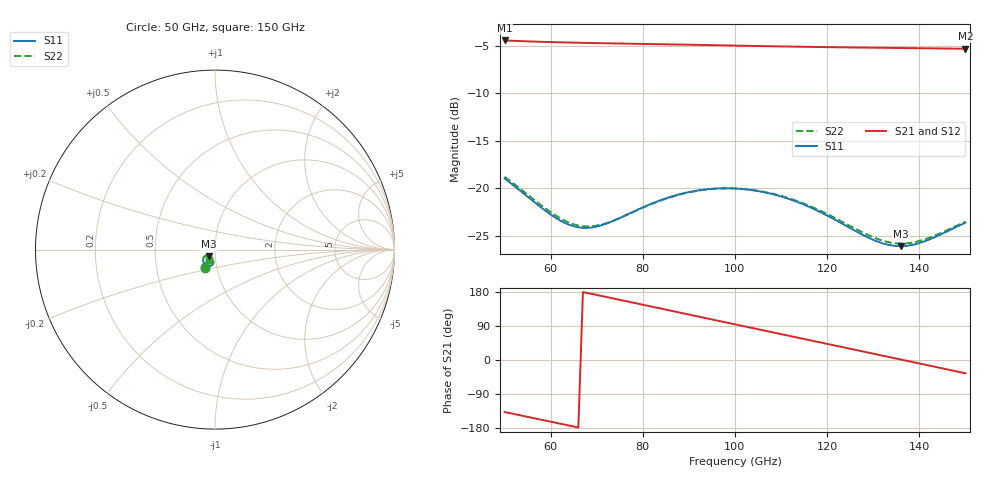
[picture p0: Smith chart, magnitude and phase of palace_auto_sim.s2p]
#  GHZ S DB R 50
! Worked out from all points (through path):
!   101 points, 50 GHz to 150 GHz, reference 50 ohm
!   highest |S21| = -4.41 dB at 50 GHz (marker M1); lowest = -5.3 dB at 150 GHz (marker M2)
!   group delay of S21, straight-line fit = 7.16 ps
!   lowest |S11| = -26.1 dB at 136 GHz (marker M3), VSWR 1.10, Z = 46.6 - j3.4 ohm
!   |S11| at or under -10 dB: start of sweep to end of sweep
!   |S22| runs from -25.8 to -18.8 dB; largest |S21 - S12| = 0
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50  -18.96 -119.1  -4.41 -137.3  -4.41 -137.3  -18.79 -119.5
55  -20.90 -122.1  -4.50 -150.1  -4.50 -150.1  -20.68 -122.8
59  -22.43 -120.7  -4.56 -160.3  -4.56 -160.3  -22.18 -121.9
63  -23.64 -115.5  -4.61 -170.5  -4.61 -170.5  -23.41 -117.2
67  -24.18 -107.7  -4.66 179.3  -4.66 179.3  -24.01 -109.9
71  -23.91 -100.6  -4.70 169.0  -4.70 169.0  -23.84 -102.9
75  -23.14 -96.8  -4.73 158.7  -4.73 158.7  -23.14 -98.9
79  -22.24 -96.4  -4.76 148.4  -4.76 148.4  -22.27 -98.2
84  -21.23 -99.7  -4.81 135.5  -4.81 135.5  -21.28 -101.1
92  -20.23 -109.7  -4.87 114.8  -4.87 114.8  -20.26 -110.6
96  -20.03 -115.7  -4.91 104.4  -4.91 104.4  -20.05 -116.5
100  -20.03 -121.9  -4.95 94.1  -4.95 94.1  -20.03 -122.6
108  -20.61 -134.0  -5.02 73.4  -5.02 73.4  -20.56 -134.4
112  -21.18 -139.2  -5.05 63.1  -5.05 63.1  -21.11 -139.6
117  -22.16 -144.4  -5.09 50.3  -5.09 50.3  -22.04 -144.7
126  -24.47 -146.4  -5.15 27.1  -5.15 27.1  -24.25 -146.9
130  -25.45 -142.8  -5.17 16.7  -5.17 16.7  -25.18 -143.6
134  -26.04 -136.4  -5.19 6.4  -5.19 6.4  -25.76 -137.8
136  -26.11 -132.7  -5.20 1.2  -5.20 1.2  -25.84 -134.3
139  -25.92 -127.4  -5.22 -6.5  -5.22 -6.5  -25.69 -129.2
143  -25.24 -122.2  -5.24 -16.9  -5.24 -16.9  -25.07 -124.2
150  -23.64 -120.1  -5.28 -35.1  -5.28 -35.1  -23.55 -121.9
